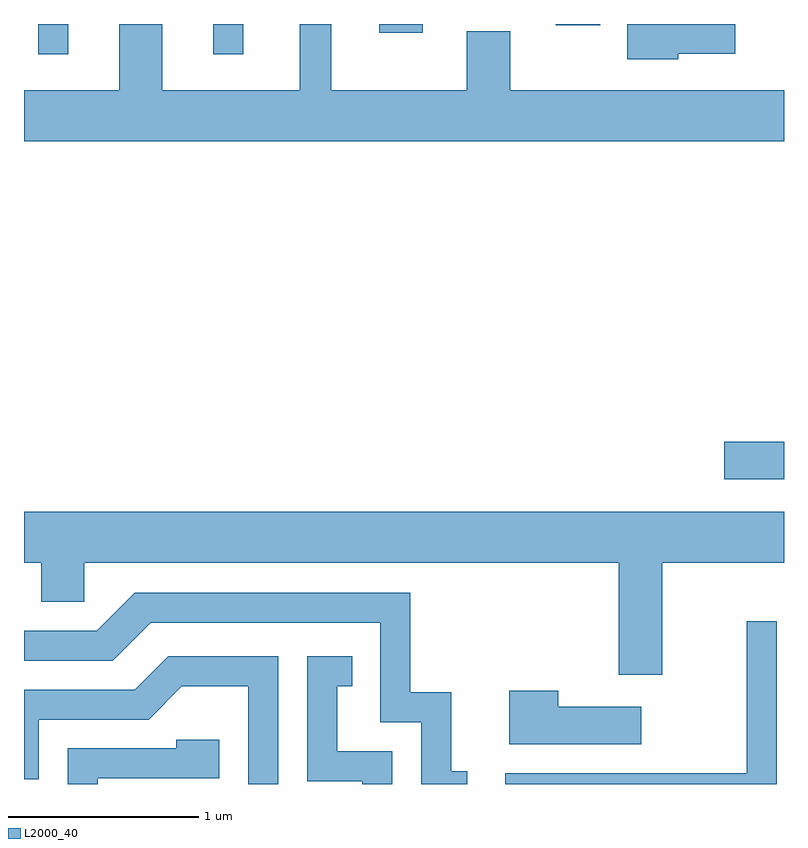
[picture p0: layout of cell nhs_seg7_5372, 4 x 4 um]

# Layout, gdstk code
import gdstk
lib = gdstk.Library(unit=1e-6, precision=1e-09)
def R(c, l, rs):  # rectangles x0, y0, x1, y1
    for r in rs: c.add(gdstk.rectangle(r[:2], r[2:], *l))
def P(c, l, *ps):  # polygons
    for p in ps: c.add(gdstk.Polygon(p, *l))
L2000_40 = (2000, 40)

nhs_seg7_5372 = lib.new_cell('nhs_seg7_5372')
R(nhs_seg7_5372, L2000_40, [(353.296,1725.856,353.611,1726.054), (349.686,1728.093,349.844,1728.252), (350.606,1728.093,350.764,1728.252), (351.481,1728.206,351.709,1728.252), (352.41,1728.246,352.643,1728.252)])
P(nhs_seg7_5372, L2000_40, [(353.611,1727.904),(352.169,1727.904),(352.169,1728.214),(351.941,1728.214),(351.941,1727.904),(351.229,1727.904),(351.229,1728.252),(351.061,1728.252),(351.061,1727.904),(350.339,1727.904),(350.339,1728.252),(350.111,1728.252),(350.111,1727.904),(349.611,1727.904),(349.611,1727.636),(353.611,1727.636)],
  [(353.054,1728.096),(353.354,1728.096),(353.354,1728.252),(352.786,1728.252),(352.786,1728.066),(353.054,1728.066)],
  [(352.969,1725.416),(353.611,1725.416),(353.611,1725.684),(349.611,1725.684),(349.611,1725.416),(349.701,1725.416),(349.701,1725.211),(349.929,1725.211),(349.929,1725.416),(352.741,1725.416),(352.741,1724.826),(352.969,1724.826)],
  [(351.943,1724.319),(351.859,1724.319),(351.859,1724.734),(351.644,1724.734),(351.644,1725.259),(350.194,1725.259),(349.994,1725.059),(349.611,1725.059),(349.611,1724.901),(350.077,1724.901),(350.277,1725.101),(351.486,1725.101),(351.486,1724.576),(351.701,1724.576),(351.701,1724.252),(351.943,1724.252)],
  [(353.574,1725.108),(353.416,1725.108),(353.416,1724.309),(352.143,1724.309),(352.143,1724.252),(353.574,1724.252)],
  [(350.949,1724.924),(350.369,1724.924),(350.194,1724.749),(349.611,1724.749),(349.611,1724.276),(349.689,1724.276),(349.689,1724.591),(350.267,1724.591),(350.442,1724.766),(350.791,1724.766),(350.791,1724.252),(350.949,1724.252)],
  [(351.549,1724.424),(351.259,1724.424),(351.259,1724.766),(351.338,1724.766),(351.338,1724.924),(351.101,1724.924),(351.101,1724.266),(351.391,1724.266),(351.391,1724.252),(351.549,1724.252)],
  [(352.859,1724.659),(352.424,1724.659),(352.424,1724.744),(352.166,1724.744),(352.166,1724.461),(352.859,1724.461)],
  [(349.999,1724.281),(350.639,1724.281),(350.639,1724.484),(350.411,1724.484),(350.411,1724.439),(349.841,1724.439),(349.841,1724.252),(349.999,1724.252)])

lib.write_gds('nhs_seg7_5372.gds')
